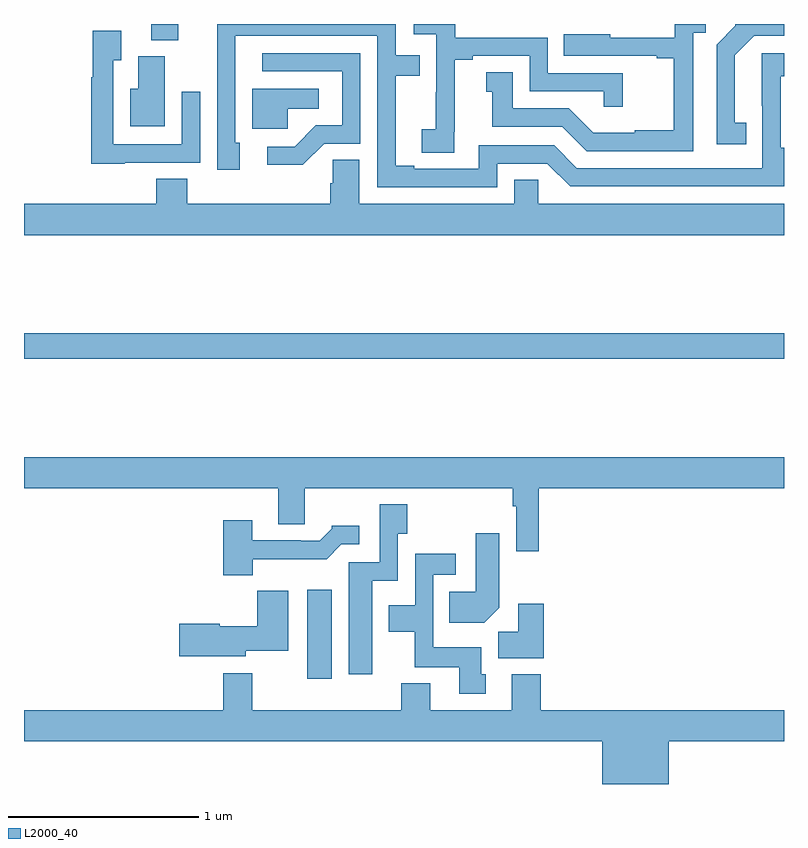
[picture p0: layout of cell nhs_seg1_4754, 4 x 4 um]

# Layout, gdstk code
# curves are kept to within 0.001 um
import gdstk
lib = gdstk.Library(unit=1e-6, precision=1e-09)
def R(c, l, rs):  # rectangles x0, y0, x1, y1
    for r in rs: c.add(gdstk.rectangle(r[:2], r[2:], *l))
def P(c, l, *ps):  # polygons
    for p in ps: c.add(gdstk.Polygon(p, *l))
L2000_40 = (2000, 40)

nhs_seg1_4754 = lib.new_cell('nhs_seg1_4754')
R(nhs_seg1_4754, L2000_40, [(370.49,526.752,370.621,527.221), (369,528.436,373,528.572), (369.671,530.113,369.811,530.199)])
P(nhs_seg1_4754, L2000_40, [(372.522,530.153),(372.587,530.153),(372.587,530.199),(372.426,530.199),(372.426,530.127),(372.085,530.127),(372.085,530.146),(371.842,530.146),(371.842,530.031),(372.329,530.031),(372.329,530.019),(372.421,530.019),(372.421,529.639),(372.215,529.639),(372.215,529.627),(371.996,529.627),(371.868,529.755),(371.572,529.755),(371.572,529.946),(371.432,529.946),(371.432,529.843),(371.465,529.843),(371.465,529.659),(371.832,529.659),(371.961,529.53),(372.522,529.53)],
  [(372.8,529.679),(372.742,529.679),(372.742,530.035),(372.843,530.136),(373,530.136),(373,530.199),(372.744,530.199),(372.744,530.189),(372.645,530.09),(372.645,529.566),(372.8,529.566)],
  [(371.264,529.633),(371.266,529.633),(371.266,530.011),(371.362,530.011),(371.362,530.031),(371.661,530.031),(371.661,529.845),(372.051,529.845),(372.051,529.764),(372.152,529.764),(372.152,529.941),(371.757,529.941),(371.757,530.127),(371.27,530.127),(371.27,530.199),(371.052,530.199),(371.052,530.145),(371.169,530.145),(371.169,529.841),(371.168,529.841),(371.168,529.644),(371.094,529.644),(371.094,529.522),(371.264,529.522)],
  [(371.49,529.464),(371.754,529.464),(371.874,529.344),(373,529.344),(373,529.547),(372.984,529.547),(372.984,529.923),(373,529.923),(373,530.044),(372.884,530.044),(372.885,529.44),(371.91,529.44),(371.79,529.56),(371.394,529.56),(371.394,529.437),(371.053,529.437),(371.053,529.452),(370.957,529.452),(370.957,529.926),(371.084,529.926),(371.084,530.034),(370.956,530.034),(370.956,530.199),(370.016,530.199),(370.017,529.431),(370.135,529.431),(370.135,529.575),(370.113,529.575),(370.113,530.136),(370.86,530.136),(370.86,529.341),(371.49,529.341)],
  [(369.531,529.47),(369.927,529.47),(369.927,529.843),(369.831,529.843),(369.831,529.566),(369.471,529.566),(369.471,530.008),(369.511,530.008),(369.511,530.164),(369.363,530.164),(369.363,529.919),(369.355,529.919),(369.355,529.463),(369.531,529.463)],
  [(370.581,529.569),(370.77,529.569),(370.77,530.046),(370.254,530.046),(370.254,529.95),(370.674,529.95),(370.674,529.665),(370.536,529.665),(370.425,529.554),(370.281,529.554),(370.281,529.457),(370.468,529.457)],
  [(369.742,530.028),(369.602,530.028),(369.602,529.858),(369.56,529.858),(369.56,529.661),(369.742,529.661)],
  [(370.389,529.754),(370.552,529.754),(370.552,529.858),(370.202,529.858),(370.202,529.647),(370.389,529.647)],
  [(373,529.252),(371.706,529.252),(371.706,529.379),(371.579,529.379),(371.579,529.252),(370.765,529.252),(370.765,529.484),(370.626,529.484),(370.626,529.361),(370.613,529.361),(370.613,529.252),(369.86,529.252),(369.86,529.385),(369.695,529.385),(369.695,529.252),(369,529.252),(369,529.088),(373,529.088)],
  [(371.708,527.756),(373,527.756),(373,527.92),(369,527.92),(369,527.756),(370.337,527.756),(370.337,527.566),(370.477,527.566),(370.477,527.756),(371.572,527.756),(371.572,527.66),(371.592,527.66),(371.592,527.424),(371.708,527.424)],
  [(370.834,527.27),(370.968,527.27),(370.968,527.515),(371.016,527.515),(371.016,527.671),(370.872,527.671),(370.872,527.367),(370.709,527.367),(370.709,526.776),(370.834,526.776)],
  [(370.204,527.382),(370.593,527.382),(370.671,527.46),(370.765,527.46),(370.765,527.557),(370.62,527.557),(370.62,527.542),(370.556,527.478),(370.457,527.478),(370.457,527.481),(370.201,527.481),(370.201,527.587),(370.049,527.587),(370.049,527.297),(370.204,527.297)],
  [(371.5,527.126),(371.5,527.518),(371.378,527.518),(371.378,527.212),(371.239,527.212),(371.239,527.048),(371.422,527.048)],
  [(371.431,526.776),(371.407,526.776),(371.407,526.918),(371.154,526.918),(371.154,527.301),(371.272,527.301),(371.272,527.41),(371.058,527.41),(371.058,527.14),(370.919,527.14),(370.919,527),(371.056,527),(371.056,526.814),(371.291,526.814),(371.291,526.674),(371.431,526.674)],
  [(370.168,526.901),(370.39,526.901),(370.39,527.215),(370.228,527.215),(370.228,527.029),(370.029,527.029),(370.029,527.042),(369.816,527.042),(369.816,526.871),(370.168,526.871)],
  [(371.735,527.149),(371.6,527.149),(371.6,527),(371.495,527),(371.495,526.862),(371.735,526.862)],
  [(372.394,526.424),(373,526.424),(373,526.588),(371.72,526.588),(371.72,526.777),(371.567,526.777),(371.567,526.588),(371.137,526.588),(371.137,526.729),(370.985,526.729),(370.985,526.588),(370.201,526.588),(370.201,526.783),(370.049,526.783),(370.049,526.588),(369,526.588),(369,526.424),(372.044,526.424),(372.044,526.199),(372.394,526.199)])

lib.write_gds('nhs_seg1_4754.gds')
